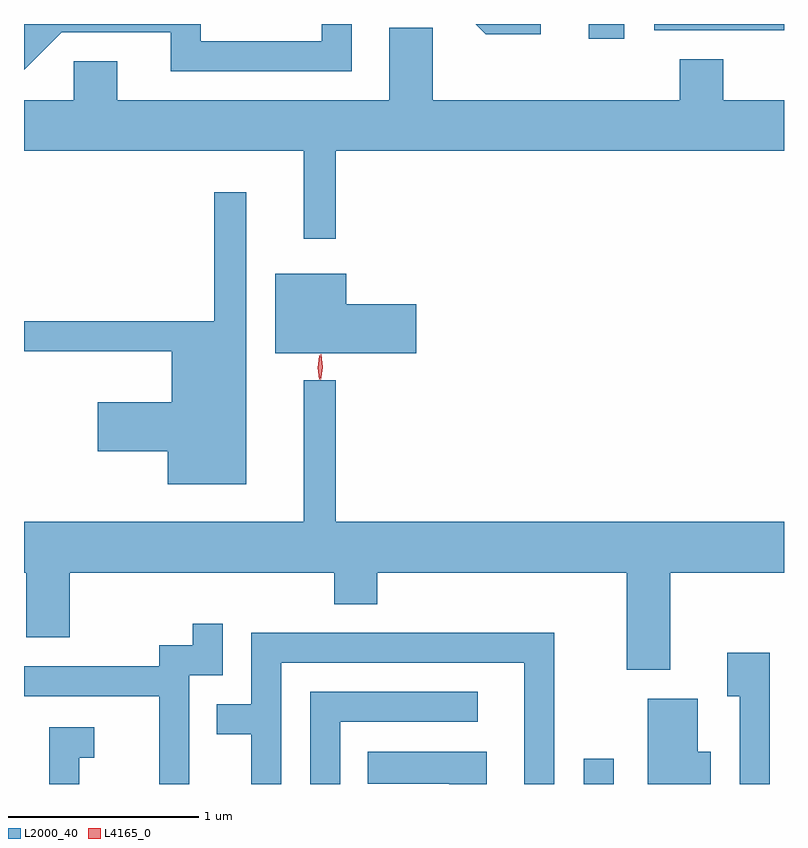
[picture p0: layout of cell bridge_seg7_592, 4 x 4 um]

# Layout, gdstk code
import gdstk
lib = gdstk.Library(unit=1e-6, precision=1e-09)
def R(c, l, rs):  # rectangles x0, y0, x1, y1
    for r in rs: c.add(gdstk.rectangle(r[:2], r[2:], *l))
def P(c, l, *ps):  # polygons
    for p in ps: c.add(gdstk.Polygon(p, *l))
L2000_40 = (2000, 40)
L4165_0 = (4165, 0)

bridge_seg7_592 = lib.new_cell('bridge_seg7_592')
R(bridge_seg7_592, L2000_40, [(789.876,1779.804,790.034,1779.938), (789.901,1783.726,790.089,1783.804), (790.246,1783.771,790.929,1783.804)])
P(bridge_seg7_592, L2000_40, [(789.648,1783.804),(789.306,1783.804),(789.359,1783.751),(789.648,1783.751)],
  [(788.654,1783.804),(788.496,1783.804),(788.496,1783.714),(787.859,1783.714),(787.859,1783.804),(786.929,1783.804),(786.929,1783.563),(787.127,1783.761),(787.701,1783.761),(787.701,1783.556),(788.654,1783.556)],
  [(788.569,1783.136),(790.929,1783.136),(790.929,1783.404),(790.609,1783.404),(790.609,1783.619),(790.381,1783.619),(790.381,1783.404),(789.079,1783.404),(789.079,1783.784),(788.851,1783.784),(788.851,1783.404),(787.419,1783.404),(787.419,1783.609),(787.191,1783.609),(787.191,1783.404),(786.929,1783.404),(786.929,1783.136),(788.401,1783.136),(788.401,1782.673),(788.569,1782.673)],
  [(788.099,1782.918),(787.931,1782.918),(787.931,1782.239),(786.929,1782.239),(786.929,1782.081),(787.706,1782.081),(787.706,1781.814),(787.316,1781.814),(787.316,1781.556),(787.686,1781.556),(787.686,1781.381),(788.099,1781.381)],
  [(788.994,1782.329),(788.624,1782.329),(788.624,1782.489),(788.251,1782.489),(788.251,1782.071),(788.994,1782.071)],
  [(790.329,1780.916),(790.929,1780.916),(790.929,1781.184),(788.569,1781.184),(788.569,1781.928),(788.401,1781.928),(788.401,1781.184),(786.929,1781.184),(786.929,1780.916),(786.941,1780.916),(786.941,1780.576),(787.169,1780.576),(787.169,1780.916),(788.561,1780.916),(788.561,1780.751),(788.789,1780.751),(788.789,1780.916),(790.101,1780.916),(790.101,1780.406),(790.329,1780.406)],
  [(787.799,1780.376),(787.974,1780.376),(787.974,1780.648),(787.816,1780.648),(787.816,1780.534),(787.641,1780.534),(787.641,1780.424),(786.929,1780.424),(786.929,1780.266),(787.641,1780.266),(787.641,1779.804),(787.799,1779.804)],
  [(788.284,1780.441),(789.561,1780.441),(789.561,1779.804),(789.719,1779.804),(789.719,1780.599),(788.126,1780.599),(788.126,1780.224),(787.943,1780.224),(787.943,1780.066),(788.126,1780.066),(788.126,1779.804),(788.284,1779.804)],
  [(790.854,1780.494),(790.631,1780.494),(790.631,1780.266),(790.696,1780.266),(790.696,1779.804),(790.854,1779.804)],
  [(788.594,1780.131),(789.318,1780.131),(789.318,1780.289),(788.436,1780.289),(788.436,1779.804),(788.594,1779.804)],
  [(790.544,1779.974),(790.474,1779.974),(790.474,1780.254),(790.211,1780.254),(790.211,1779.804),(790.544,1779.804)],
  [(787.219,1779.941),(787.298,1779.941),(787.298,1780.104),(787.061,1780.104),(787.061,1779.804),(787.219,1779.804)],
  [(789.364,1779.974),(788.738,1779.974),(788.738,1779.806),(789.166,1779.806),(789.166,1779.804),(789.364,1779.804)])
P(bridge_seg7_592, L4165_0, [(788.485,1781.933),(788.484,1781.934),(788.475,1781.996),(788.484,1782.059),(788.484,1782.06),(788.485,1782.059),(788.495,1781.996),(788.485,1781.934)],
  [(788.49,1781.93),(788.482,1781.998),(788.492,1782.065),(788.493,1782.066),(788.493,1782.065),(788.502,1781.998),(788.491,1781.93),(788.491,1781.93)])

lib.write_gds('bridge_seg7_592.gds')
